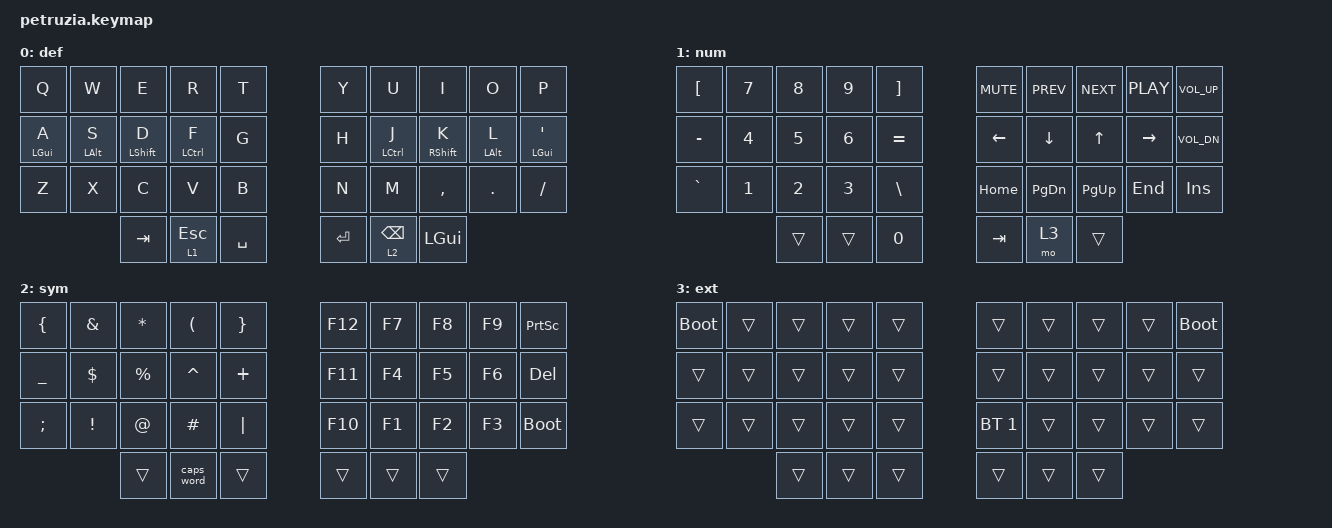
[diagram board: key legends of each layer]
#include <behaviors.dtsi>
#include <dt-bindings/zmk/keys.h>
#include <dt-bindings/zmk/bt.h>
#include <dt-bindings/zmk/outputs.h>
#include "zmk-helpers/helper.h"
#include "zmk-helpers/key-labels/36.h"

/* Home Row Mods */
#define KEYS_L LT0 LT1 LT2 LT3 LT4 LM0 LM1 LM2 LM3 LM4 LB0 LB1 LB2 LB3 LB4  // left-hand keys
#define KEYS_R RT0 RT1 RT2 RT3 RT4 RM0 RM1 RM2 RM3 RM4 RB0 RB1 RB2 RB3 RB4  // right-hand keys
#define THUMBS LH2 LH1 LH0 RH0 RH1 RH2 // thumb keys

#define DEF 0
#define NUM 1
#define SYM 2
#define EXT 3


/* left-hand HRMs */
ZMK_HOLD_TAP(hml,
    flavor = "balanced";
    tapping-term-ms = <200>;
    quick-tap-ms = <175>;
    require-prior-idle-ms = <100>;
    bindings = <&kp>, <&kp>;
    hold-trigger-on-release;
)

ZMK_HOLD_TAP(hmr,
    flavor = "balanced";
    tapping-term-ms = <200>;
    quick-tap-ms = <175>;
    require-prior-idle-ms = <100>;
    bindings = <&kp>, <&kp>;
    hold-trigger-on-release;
)

ZMK_CONDITIONAL_LAYER(ext, NUM SYM, EXT) // FN + NUM --> SYS.

ZMK_LAYER(def,
			&kp Q &kp W &kp E &kp R &kp T                                     &kp Y &kp U  &kp I     &kp O   &kp P 
			&hml LGUI A &hml LALT S &hml LSHFT D &hml LCTRL F &kp G           &kp H &hmr LCTRL J  &hmr RSHFT K &hmr LALT L &hmr LGUI APOS
	  	&kp Z &kp X &kp C &kp V &kp B                                     &kp N &kp M  &kp COMMA &kp DOT &kp FSLH
     		&kp TAB &lt 1 ESC &kp SPACE                                     &kp RET &lt 2 BSPC &kp LGUI
)

ZMK_LAYER(num,
      &kp LBKT &kp N7 &kp N8 &kp N9 &kp RBKT                            &kp C_MUTE &kp C_PREV &kp C_NEXT &kp C_PLAY &kp C_VOL_UP
      &kp MINUS &kp N4 &kp N5 &kp N6 &kp EQUAL                           &kp LEFT &kp DOWN &kp UP &kp RIGHT &kp C_VOL_DN
      &kp GRAVE &kp N1 &kp N2 &kp N3 &kp BSLH                           &kp HOME &kp PG_DN &kp PG_UP &kp END &kp INS
                          &trans &trans &kp N0                           &kp TAB &mo 3 &trans
)

ZMK_LAYER(sym,
    &kp LBRC &kp AMPS &kp ASTRK &kp LPAR &kp RBRC                     &kp F12 &kp F7 &kp F8 &kp F9 &kp PSCRN
    &kp UNDERSCORE &kp DLLR &kp PRCNT &kp CARET &kp PLUS              &kp F11 &kp F4 &kp F5 &kp F6 &kp DEL 
    &kp SEMI &kp EXCL &kp AT &kp HASH &kp PIPE                        &kp F10 &kp F1 &kp F2 &kp F3 &bootloader
                      &trans &caps_word &trans                        &trans &trans &trans
)

ZMK_LAYER(ext,
      &bootloader &trans &trans &trans &trans  &trans &trans &trans &trans &bootloader
      &trans &trans &trans &trans &trans       &trans &trans &trans &trans &trans
      &trans &trans &trans &trans &trans       &bt BT_SEL 1 &trans &trans &trans &trans
                    &trans &trans &trans       &trans &trans &trans
)
